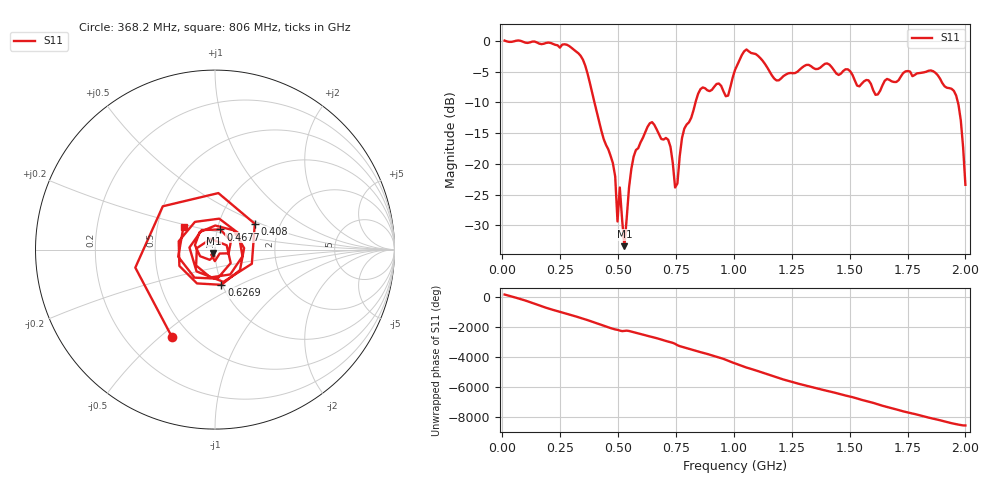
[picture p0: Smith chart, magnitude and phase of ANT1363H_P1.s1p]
!Created with skrf (http://scikit-rf.org).
# Hz S RI R 50.0
!freq ReS11 ImS11
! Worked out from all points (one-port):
!   201 points, 10 MHz to 2 GHz, reference 50 ohm
!   lowest |S11| = -33.4 dB at 527.4 MHz (marker M1), VSWR 1.04, Z = 49.1 - j1.92 ohm
!   |S11| at or under -10 dB: 397.9 MHz to 834.5 MHz (436.6 MHz wide, 70.9 % of centre); 1.968 GHz to end of sweep
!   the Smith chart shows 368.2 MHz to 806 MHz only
!   S11 on the Smith chart (normalised r, x): 368.2 MHz: 0.40, -0.55; 408 MHz: 1.49, +0.46; 467.7 MHz: 1.03, +0.24; 626.9 MHz: 0.99, -0.40; 806 MHz: 0.68, +0.18
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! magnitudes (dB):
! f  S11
! 10 MHz  0.0
! 258.8 MHz  -0.6
! 368.2 MHz  -5.3
! 408 MHz  -11.6
! 467.7 MHz  -18.7
! 487.6 MHz  -22.0
! 497.6 MHz  -29.3
! 507.5 MHz  -23.8
! 527.4 MHz  -33.4
! 567.2 MHz  -18.8
! 626.9 MHz  -14.0
! 716.5 MHz  -16.1
! 746.3 MHz  -23.8
! 756.2 MHz  -23.2
! 776.1 MHz  -15.8
! 806 MHz  -13.3
! 855.8 MHz  -7.9
! 975.1 MHz  -8.9
! 1.005 GHz  -4.8
! 1.055 GHz  -1.4
! 1.184 GHz  -6.4
! 1.254 GHz  -5.3
! 1.502 GHz  -5.0
! 1.612 GHz  -8.8
! 1.751 GHz  -4.9
! 1.95 GHz  -8.1
! 1.98 GHz  -12.9
! 2 GHz  -23.4
